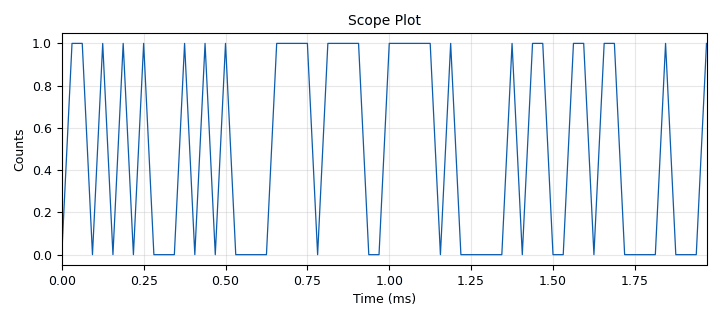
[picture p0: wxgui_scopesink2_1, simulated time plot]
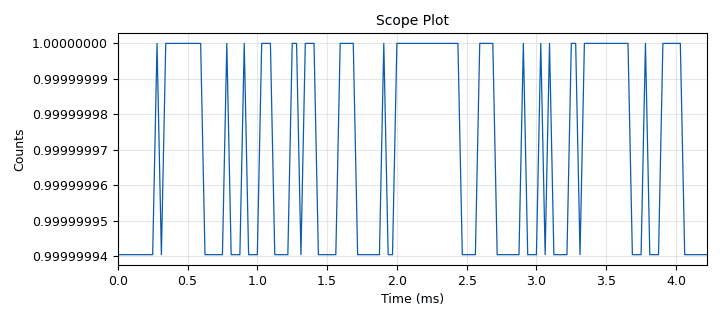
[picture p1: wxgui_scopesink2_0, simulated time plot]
<?xml version='1.0' encoding='utf-8'?>
<flow_graph>
<block>
<key>options</key>
<param><key>id</key><value>top_block</value></param>
<param><key>generate_options</key><value>wx_gui</value></param>
<param><key>category</key><value>Custom</value></param>
</block>
<block>
<key>variable</key>
<param><key>id</key><value>samp_rate</value></param>
<param><key>value</key><value>32000</value></param>
</block>
<block>
<key>qtgui_time_sink_x</key>
<param><key>id</key><value>qtgui_time_sink_x_0</value></param>
<param><key>_enabled</key><value>False</value></param>
<param><key>type</key><value>float</value></param>
<param><key>name</key><value>QT GUI Plot</value></param>
<param><key>size</key><value>1024</value></param>
<param><key>srate</key><value>samp_rate</value></param>
</block>
<block>
<key>blocks_sample_and_hold_xx</key>
<param><key>id</key><value>blocks_sample_and_hold_xx_0</value></param>
<param><key>type</key><value>float</value></param>
</block>
<block>
<key>blocks_throttle</key>
<param><key>id</key><value>blocks_throttle_1</value></param>
<param><key>type</key><value>float</value></param>
<param><key>samples_per_second</key><value>samp_rate</value></param>
<param><key>ignoretag</key><value>False</value></param>
</block>
<block>
<key>analog_sig_source_x</key>
<param><key>id</key><value>analog_sig_source_x_0</value></param>
<param><key>type</key><value>complex</value></param>
<param><key>samp_rate</key><value>samp_rate</value></param>
<param><key>waveform</key><value>analog.GR_SIN_WAVE</value></param>
<param><key>freq</key><value>1000</value></param>
<param><key>amp</key><value>1</value></param>
<param><key>offset</key><value>0</value></param>
</block>
<block>
<key>blocks_complex_to_mag</key>
<param><key>id</key><value>blocks_complex_to_mag_0</value></param>
</block>
<block>
<key>analog_random_source_x</key>
<param><key>id</key><value>analog_random_source_x_0</value></param>
<param><key>type</key><value>byte</value></param>
<param><key>min</key><value>0</value></param>
<param><key>max</key><value>2</value></param>
<param><key>num_samps</key><value>1000</value></param>
<param><key>repeat</key><value>True</value></param>
</block>
<block>
<key>blocks_char_to_float</key>
<param><key>id</key><value>blocks_char_to_float_0</value></param>
<param><key>scale</key><value>1</value></param>
</block>
<block>
<key>notebook</key>
<param><key>id</key><value>nb</value></param>
<param><key>style</key><value>wx.NB_TOP</value></param>
<param><key>labels</key><value>['random', 'ourput']</value></param>
</block>
<block>
<key>wxgui_scopesink2</key>
<param><key>id</key><value>wxgui_scopesink2_1</value></param>
<param><key>type</key><value>float</value></param>
<param><key>title</key><value>Scope Plot</value></param>
<param><key>samp_rate</key><value>samp_rate</value></param>
<param><key>v_scale</key><value>0</value></param>
<param><key>v_offset</key><value>0</value></param>
<param><key>t_scale</key><value>0</value></param>
<param><key>ac_couple</key><value>False</value></param>
<param><key>xy_mode</key><value>False</value></param>
<param><key>num_inputs</key><value>1</value></param>
<param><key>notebook</key><value>nb,0</value></param>
<param><key>trig_mode</key><value>wxgui.TRIG_MODE_AUTO</value></param>
<param><key>y_axis_label</key><value>Counts</value></param>
</block>
<block>
<key>wxgui_scopesink2</key>
<param><key>id</key><value>wxgui_scopesink2_0</value></param>
<param><key>type</key><value>float</value></param>
<param><key>title</key><value>Scope Plot</value></param>
<param><key>samp_rate</key><value>samp_rate</value></param>
<param><key>v_scale</key><value>0</value></param>
<param><key>v_offset</key><value>0</value></param>
<param><key>t_scale</key><value>0</value></param>
<param><key>ac_couple</key><value>False</value></param>
<param><key>xy_mode</key><value>False</value></param>
<param><key>num_inputs</key><value>1</value></param>
<param><key>notebook</key><value>nb,1</value></param>
<param><key>trig_mode</key><value>wxgui.TRIG_MODE_AUTO</value></param>
<param><key>y_axis_label</key><value>Counts</value></param>
</block>
<connection><source_block_id>blocks_complex_to_mag_0</source_block_id><sink_block_id>blocks_sample_and_hold_xx_0</sink_block_id><source_key>0</source_key><sink_key>0</sink_key></connection>
<connection><source_block_id>analog_random_source_x_0</source_block_id><sink_block_id>blocks_sample_and_hold_xx_0</sink_block_id><source_key>0</source_key><sink_key>1</sink_key></connection>
<connection><source_block_id>analog_sig_source_x_0</source_block_id><sink_block_id>blocks_complex_to_mag_0</sink_block_id><source_key>0</source_key><sink_key>0</sink_key></connection>
<connection><source_block_id>blocks_sample_and_hold_xx_0</source_block_id><sink_block_id>blocks_throttle_1</sink_block_id><source_key>0</source_key><sink_key>0</sink_key></connection>
<connection><source_block_id>blocks_throttle_1</source_block_id><sink_block_id>qtgui_time_sink_x_0</sink_block_id><source_key>0</source_key><sink_key>0</sink_key></connection>
<connection><source_block_id>blocks_throttle_1</source_block_id><sink_block_id>wxgui_scopesink2_0</sink_block_id><source_key>0</source_key><sink_key>0</sink_key></connection>
<connection><source_block_id>analog_random_source_x_0</source_block_id><sink_block_id>blocks_char_to_float_0</sink_block_id><source_key>0</source_key><sink_key>0</sink_key></connection>
<connection><source_block_id>blocks_char_to_float_0</source_block_id><sink_block_id>wxgui_scopesink2_1</sink_block_id><source_key>0</source_key><sink_key>0</sink_key></connection>
</flow_graph>
